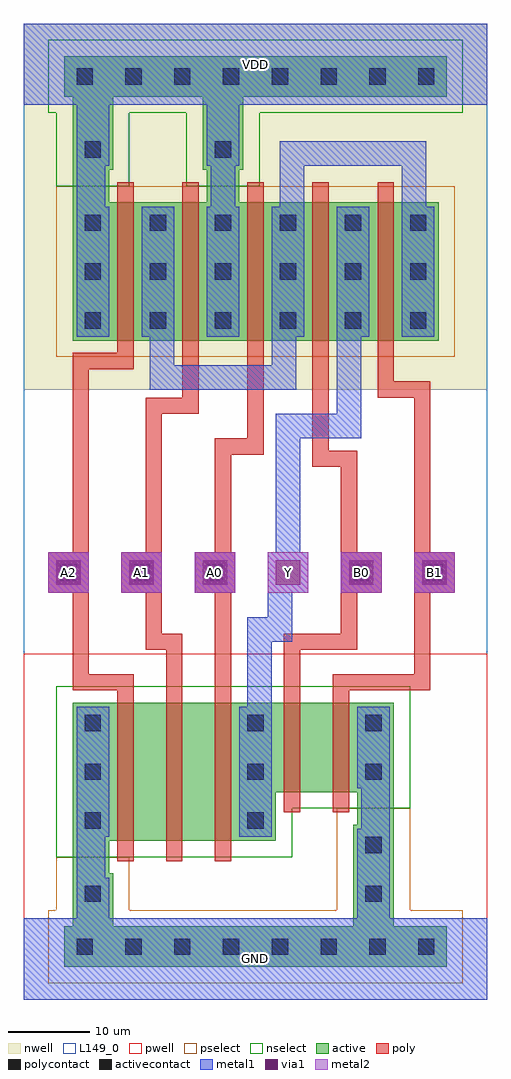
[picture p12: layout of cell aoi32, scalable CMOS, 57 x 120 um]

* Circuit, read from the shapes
.subckt aoi32 A0 A1 A2 B0 B1 GND VDD Y
M1 n1 A2 GND GND nfet w=17u l=2u
M2 n2 A1 n1 GND nfet w=17u l=2u
M3 Y A0 n2 GND nfet w=17u l=2u
M4 n3 B0 Y GND nfet w=11u l=2u
M5 GND B1 n3 GND nfet w=11u l=2u
M6 n4 A2 VDD VDD pfet w=17u l=2u
M7 VDD A1 n4 VDD pfet w=17u l=2u
M8 n4 A0 VDD VDD pfet w=17u l=2u
M9 Y B0 n4 VDD pfet w=17u l=2u
M10 n4 B1 Y VDD pfet w=17u l=2u
.ends

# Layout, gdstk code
from math import pi, radians
import gdstk
lib = gdstk.Library(unit=1e-6, precision=1e-09)
def R(c, l, rs):  # rectangles x0, y0, x1, y1
    for r in rs: c.add(gdstk.rectangle(r[:2], r[2:], *l))
def A(c, l, x, y, w, h, nx, ny, dx, dy):  # array of equal rectangles
    R(c, l, [(x+i*dx, y+j*dy, x+i*dx+w, y+j*dy+h) for i in range(nx) for j in range(ny)])
def P(c, l, *ps):  # polygons
    for p in ps: c.add(gdstk.Polygon(p, *l))
pwell = (41, 0)
nwell = (42, 0)
active = (43, 0)
pselect = (44, 0)
nselect = (45, 0)
poly = (46, 0)
polycontact = (47, 0)
activecontact = (48, 0)
metal1 = (49, 0)
via1 = (50, 0)
metal2 = (51, 0)
L149_0 = (149, 0)

via = lib.new_cell('via')
R(via, metal1, [(-2.5,-2.5,2.5,2.5)])
R(via, via1, [(-1.5,-1.5,1.5,1.5)])
R(via, metal2, [(-2.5,-2.5,2.5,2.5)])

aoi32 = lib.new_cell('aoi32')
R(aoi32, pwell, [(0,0,57,42.5)])
P(aoi32, pwell, [(37,13.5),(37,19.5),(51.5,19.5),(51.5,42.5),(0,42.5),(0,13.5)])
R(aoi32, nwell, [(0,75,57,104), (0,75,57,120)])
R(aoi32, active, [(5,4,52,9), (6,9,11,15.5), (40.5,9,45.5,21.5), (6,15.5,10.5,19.5), (6,19.5,11.5,36.5), (41,21.5,45.5,25.5), (40,25.5,45.5,36.5), (6,81,51,98), (6,81,11.5,98), (45.5,81,51,98), (6,98,10.5,102), (22.5,98,26.5,102), (6,102,11,111), (22,102,27,111), (5,111,52,116)])
P(aoi32, active, [(31,19.5),(31,25.5),(45.5,25.5),(45.5,36.5),(6,36.5),(6,19.5)])
R(aoi32, pselect, [(3,2,54,11), (4,11,13,17.5), (38.5,11,47.5,23.5), (4,79,53,100)])
R(aoi32, nselect, [(4,100,13,109), (20,100,29,109), (3,109,54,118)])
P(aoi32, nselect, [(33,17.5),(33,23.5),(47.5,23.5),(47.5,38.5),(4,38.5),(4,17.5)])
A(aoi32, poly, 11.5, 17, 2, 2.5, 3, 2, 6, 19.5)
A(aoi32, poly, 11.5, 19.5, 2, 17, 3, 1, 6, 0)
A(aoi32, poly, 3, 50, 5, 5, 3, 1, 9, 0)
A(aoi32, poly, 11.5, 78.5, 2, 2.5, 5, 2, 8, 19.5)
A(aoi32, poly, 11.5, 81, 2, 17, 5, 1, 8, 0)
R(aoi32, poly, [(32,23,34,25.5), (38,23,40,25.5), (32,25.5,34,36.5), (38,25.5,40,36.5), (32,36.5,34,39), (38,36.5,40,39), (39,50,44,55), (48,50,53,55)])
A(aoi32, polycontact, 4.5, 51.5, 2, 2, 3, 1, 9, 0)
R(aoi32, polycontact, [(40.5,51.5,42.5,53.5), (49.5,51.5,51.5,53.5)])
A(aoi32, activecontact, 6.5, 5.5, 2, 2, 8, 2, 6, 107)
A(aoi32, activecontact, 7.5, 21, 2, 2, 1, 3, 0, 6)
A(aoi32, activecontact, 27.5, 21, 2, 2, 1, 3, 0, 6)
A(aoi32, activecontact, 7.5, 82.5, 2, 2, 6, 3, 8, 6)
R(aoi32, activecontact, [(7.5,12,9.5,14), (42,12,44,14), (42,18,44,20), (42,27,44,29), (42,33,44,35), (7.5,103.5,9.5,105.5), (23.5,103.5,25.5,105.5)])
A(aoi32, metal1, 3.5, 50.5, 4, 4, 3, 1, 9, 0)
A(aoi32, metal1, 6.5, 81.5, 4, 16, 6, 1, 8, 0)
R(aoi32, metal1, [(0,0,57,10), (6.5,10,10.5,15), (41,10,45,21), (6.5,15,10,20), (6.5,20,10.5,36), (26.5,20,30.5,36), (41.5,21,45,26), (41,26,45,36), (39.5,50.5,43.5,54.5), (48.5,50.5,52.5,54.5), (6.5,97.5,10,102.5), (23,97.5,26,102.5), (6.5,102.5,10.5,110), (22.5,102.5,26.5,110), (0,110,57,120)])
A(aoi32, metal2, 3, 50, 5, 5, 6, 1, 9, 0)
R(aoi32, L149_0, [(0,0,57,120)])
aoi32.add(gdstk.FlexPath([(48,97.5),(48,104),(33,104),(33,97.5)], 3, ends="flush", simple_path=True, layer=49, datatype=0))  # metal1
aoi32.add(gdstk.FlexPath([(40,81.5),(40,70.5),(32.5,70.5),(32.5,55)], 3, ends="flush", simple_path=True, layer=49, datatype=0))  # metal1
aoi32.add(gdstk.FlexPath([(29,36),(29,45.5),(31.5,45.5),(31.5,50)], 3, ends="flush", simple_path=True, layer=49, datatype=0))  # metal1
aoi32.add(gdstk.FlexPath([(32,81.5),(32,76.5),(17,76.5),(17,81.5)], 3, ends="flush", simple_path=True, layer=49, datatype=0))  # metal1
aoi32.add(gdstk.FlexPath([(16,55),(16,73),(20.5,73),(20.5,78.5)], 2, ends="flush", simple_path=True, layer=46, datatype=0))  # poly
aoi32.add(gdstk.FlexPath([(28.5,78.5),(28.5,68),(24.5,68),(24.5,39)], 2, ends="flush", simple_path=True, layer=46, datatype=0))  # poly
aoi32.add(gdstk.FlexPath([(49,50),(49,39),(38,39)], 2, ends="flush", simple_path=True, layer=46, datatype=0))  # poly
aoi32.add(gdstk.FlexPath([(13.5,78.5),(7,78.5),(7,55)], 2, ends="flush", simple_path=True, layer=46, datatype=0))  # poly
aoi32.add(gdstk.FlexPath([(7,50),(7,39),(13.5,39)], 2, ends="flush", simple_path=True, layer=46, datatype=0))  # poly
aoi32.add(gdstk.FlexPath([(18.5,39),(18.5,44),(16,44),(16,50)], 2, ends="flush", simple_path=True, layer=46, datatype=0))  # poly
aoi32.add(gdstk.FlexPath([(33,39),(33,44),(40,44),(40,50)], 2, ends="flush", simple_path=True, layer=46, datatype=0))  # poly
aoi32.add(gdstk.FlexPath([(44.5,78.5),(44.5,75),(49,75),(49,55)], 2, ends="flush", simple_path=True, layer=46, datatype=0))  # poly
aoi32.add(gdstk.FlexPath([(36.5,78.5),(36.5,66.5),(40,66.5),(40,55)], 2, ends="flush", simple_path=True, layer=46, datatype=0))  # poly
aoi32.add(gdstk.Reference(via, (14.5,52.5), rotation=pi, x_reflection=True))
aoi32.add(gdstk.Reference(via, (32.5,52.5), rotation=pi, x_reflection=True))
aoi32.add(gdstk.Reference(via, (50.5,52.5), rotation=pi, x_reflection=True))
aoi32.add(gdstk.Reference(via, (41.5,52.5), rotation=pi, x_reflection=True))
aoi32.add(gdstk.Reference(via, (23.5,52.5), rotation=pi, x_reflection=True))
aoi32.add(gdstk.Reference(via, (5.5,52.5), rotation=pi, x_reflection=True))
aoi32.add(gdstk.Label('GND', (28.5,5), layer=2, texttype=0))
aoi32.add(gdstk.Label('VDD', (28.5,115), layer=2, texttype=0))
aoi32.add(gdstk.Label('B0', (41.5,52.5), layer=3, texttype=0))
aoi32.add(gdstk.Label('B1', (50.5,52.5), layer=3, texttype=0))
aoi32.add(gdstk.Label('A2', (5.5,52.5), layer=3, texttype=0))
aoi32.add(gdstk.Label('A1', (14.5,52.5), layer=3, texttype=0))
aoi32.add(gdstk.Label('A0', (23.5,52.5), layer=3, texttype=0))
aoi32.add(gdstk.Label('Y', (32.5,52.5), layer=3, texttype=0))
aoi32.add(gdstk.Label('GND', (28.5,5), layer=2, texttype=0))
aoi32.add(gdstk.Label('VDD', (28.5,115), layer=2, texttype=0))
aoi32.add(gdstk.Label('B0', (41.5,52.5), layer=3, texttype=0))
aoi32.add(gdstk.Label('B1', (50.5,52.5), layer=3, texttype=0))
aoi32.add(gdstk.Label('A2', (5.5,52.5), layer=3, texttype=0))
aoi32.add(gdstk.Label('A1', (14.5,52.5), layer=3, texttype=0))
aoi32.add(gdstk.Label('A0', (23.5,52.5), layer=3, texttype=0))
aoi32.add(gdstk.Label('Y', (32.5,52.5), layer=3, texttype=0))

lib.write_gds('aoi32.gds')
